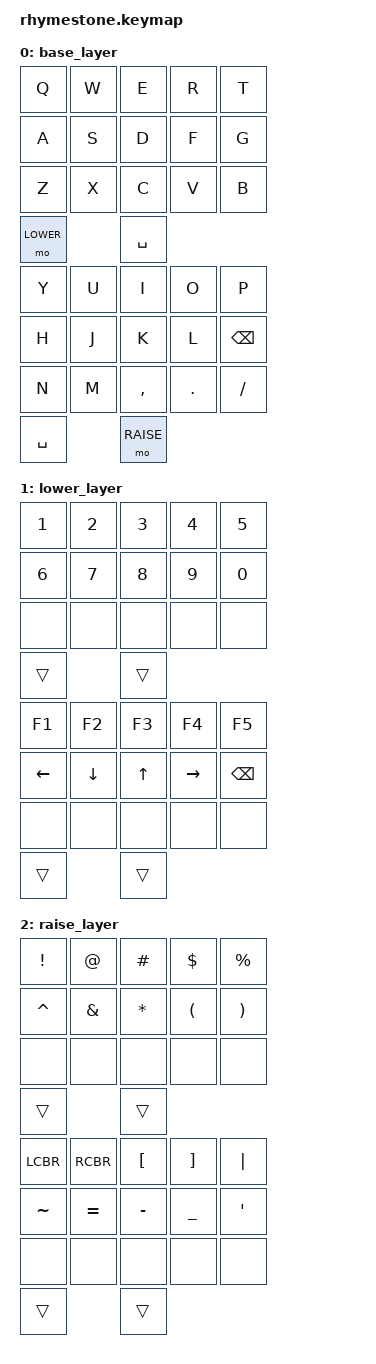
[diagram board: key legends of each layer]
/ {
  keymap {
    compatible = "zmk,keymap";

    base_layer {
      bindings = <
        &kp Q &kp W &kp E &kp R &kp T
        &kp A &kp S &kp D &kp F &kp G
        &kp Z &kp X &kp C &kp V &kp B
        &mo LOWER &kp SPACE
      >,
      <
        &kp Y &kp U &kp I &kp O &kp P
        &kp H &kp J &kp K &kp L &kp BSPC
        &kp N &kp M &kp COMMA &kp DOT &kp SLASH
        &kp SPACE &mo RAISE
      >;
    };

    lower_layer {
      bindings = <
        &kp 1 &kp 2 &kp 3 &kp 4 &kp 5
        &kp 6 &kp 7 &kp 8 &kp 9 &kp 0
        &none &none &none &none &none
        &trans &trans
      >,
      <
        &kp F1 &kp F2 &kp F3 &kp F4 &kp F5
        &kp LEFT &kp DOWN &kp UP &kp RIGHT &kp BSPC
        &none &none &none &none &none
        &trans &trans
      >;
    };

    raise_layer {
      bindings = <
        &kp EXCL &kp AT &kp HASH &kp DOLLAR &kp PERCENT
        &kp CARET &kp AMPS &kp ASTERISK &kp LPAR &kp RPAR
        &none &none &none &none &none
        &trans &trans
      >,
      <
        &kp LCBR &kp RCBR &kp LBKT &kp RBKT &kp PIPE
        &kp TILDE &kp EQUAL &kp MINUS &kp UNDERSCORE &kp SQT
        &none &none &none &none &none
        &trans &trans
      >;
    };
  };
};
